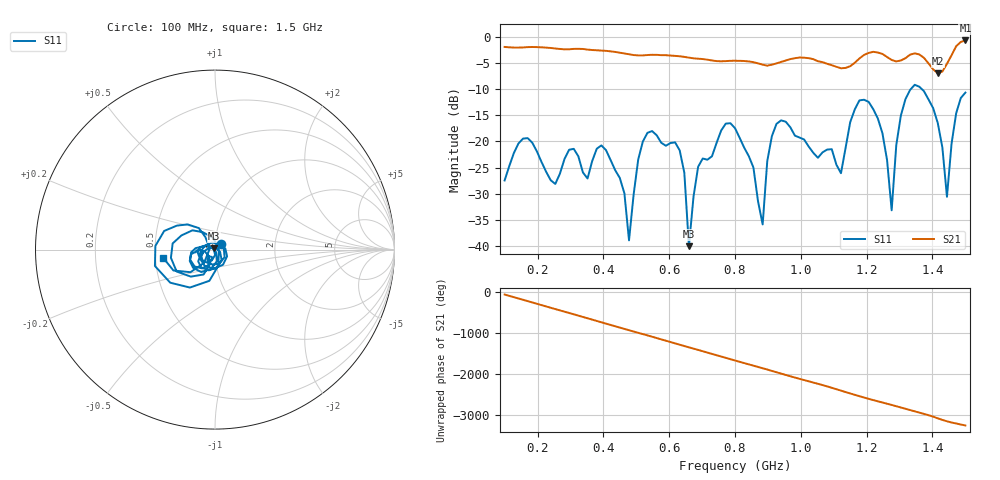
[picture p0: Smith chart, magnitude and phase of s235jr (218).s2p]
! NanoVNA-App
! Date: 2025-09-25 15:05:51
! Start: 100MHz Stop: 1,5GHz Points: 101
! S-Parameter data: F S11 S21 S12 S22
# Hz S RI R 50
!  Frequency  S11_Real  S11_Imag  S21_Real  S21_Imag  S12_Real  S12_Imag  S22_Real  S22_Imag
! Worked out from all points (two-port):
!   101 points, 100 MHz to 1.5 GHz, reference 50 ohm
!   highest |S21| = -0.73 dB at 1.5 GHz (marker M1); lowest = -7.0 dB at 1.416 GHz (marker M2)
!   |S21| within 3 dB of the highest: start of sweep to 628.1 MHz; 1.187 GHz to 1.258 GHz (70.8 MHz wide, 5.79 % of centre) (the widest 2 of 4)
!   lowest |S11| = -40.0 dB at 660 MHz (marker M3), VSWR 1.02, Z = 49.2 + j0.636 ohm
!   |S11| at or under -10 dB: start of sweep to 1.334 GHz; 1.367 GHz to end of sweep
!   S12 and S22 are empty: the file has one direction only
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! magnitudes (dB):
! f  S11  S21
! 100 MHz  -27.5  -2.0
! 170 MHz  -19.4  -2.0
! 338 MHz  -26.0  -2.4
! 408 MHz  -21.7  -2.7
! 478 MHz  -38.9  -3.4
! 520 MHz  -20.0  -3.6
! 576 MHz  -20.3  -3.5
! 632 MHz  -21.7  -3.7
! 660 MHz  -40.0  -4.0
! 688 MHz  -24.9  -4.2
! 800 MHz  -17.5  -4.6
! 884 MHz  -35.9  -5.3
! 926 MHz  -16.7  -5.1
! 1.038 GHz  -22.2  -4.3
! 1.122 GHz  -26.1  -6.0
! 1.206 GHz  -12.5  -3.1
! 1.276 GHz  -33.2  -4.4
! 1.29 GHz  -20.7  -4.7
! 1.332 GHz  -10.2  -3.4
! 1.416 GHz  -16.5  -7.0
! 1.444 GHz  -30.6  -5.2
! 1.5 GHz  -10.7  -0.7
